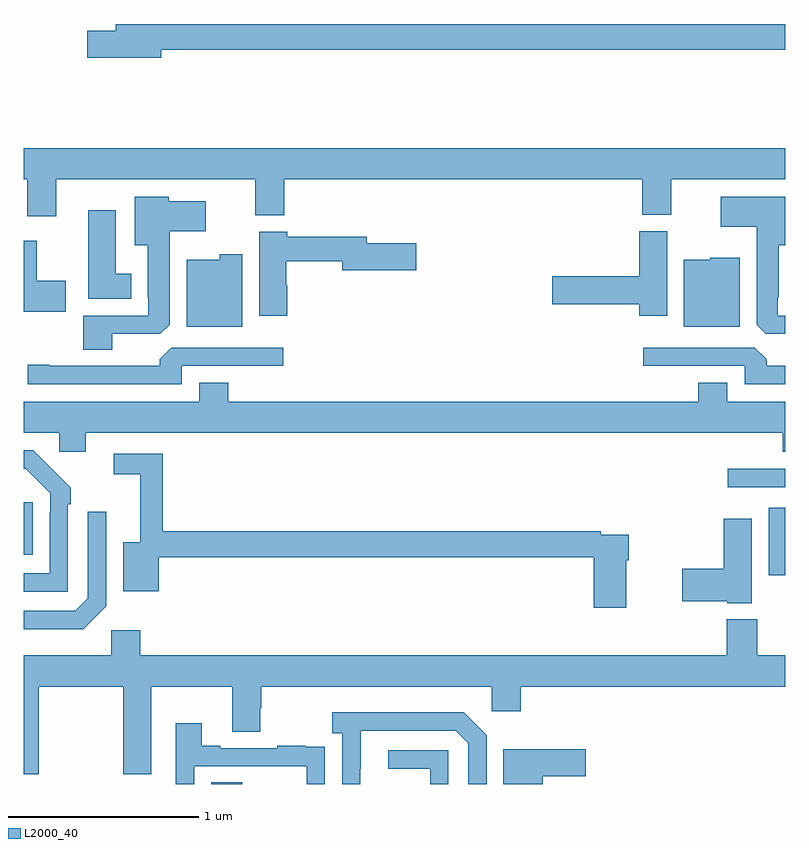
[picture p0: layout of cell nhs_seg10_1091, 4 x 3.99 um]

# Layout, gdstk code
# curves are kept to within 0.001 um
import gdstk
lib = gdstk.Library(unit=1e-6, precision=1e-09)
def R(c, l, rs):  # rectangles x0, y0, x1, y1
    for r in rs: c.add(gdstk.rectangle(r[:2], r[2:], *l))
def P(c, l, *ps):  # polygons
    for p in ps: c.add(gdstk.Polygon(p, *l))
L2000_40 = (2000, 40)

nhs_seg10_1091 = lib.new_cell('nhs_seg10_1091')
R(nhs_seg10_1091, L2000_40, [(167.984,1270.5,168.148,1270.508), (170.912,1271.597,171,1271.95), (167,1271.705,167.047,1271.98), (170.697,1272.06,171,1272.156)])
P(nhs_seg10_1091, L2000_40, [(167.722,1274.356),(171,1274.356),(171,1274.492),(167.483,1274.492),(167.483,1274.456),(167.334,1274.456),(167.334,1274.314),(167.722,1274.314)],
  [(167.17,1273.676),(168.215,1273.676),(168.215,1273.487),(168.368,1273.487),(168.368,1273.676),(170.249,1273.676),(170.249,1273.489),(170.401,1273.489),(170.401,1273.676),(171,1273.676),(171,1273.84),(167,1273.84),(167,1273.676),(167.018,1273.676),(167.018,1273.482),(167.17,1273.482)],
  [(167.464,1272.864),(167.718,1272.864),(167.767,1272.913),(167.767,1273.403),(167.956,1273.403),(167.956,1273.561),(167.763,1273.561),(167.763,1273.585),(167.582,1273.585),(167.582,1273.331),(167.651,1273.331),(167.651,1273.057),(167.655,1273.057),(167.655,1272.96),(167.312,1272.96),(167.312,1272.781),(167.464,1272.781)],
  [(171,1272.96),(170.961,1272.96),(170.961,1273.057),(170.965,1273.057),(170.965,1273.331),(171,1273.331),(171,1273.585),(170.661,1273.585),(170.661,1273.427),(170.849,1273.427),(170.849,1272.913),(170.898,1272.864),(171,1272.864)],
  [(167.566,1273.18),(167.482,1273.18),(167.482,1273.513),(167.339,1273.513),(167.339,1273.049),(167.566,1273.049)],
  [(170.38,1273.404),(170.234,1273.404),(170.234,1273.166),(169.776,1273.166),(169.776,1273.019),(170.234,1273.019),(170.234,1272.96),(170.38,1272.96)],
  [(168.383,1273.121),(168.378,1273.121),(168.378,1273.246),(168.674,1273.246),(168.674,1273.199),(169.063,1273.199),(169.063,1273.341),(168.802,1273.341),(168.802,1273.375),(168.383,1273.375),(168.383,1273.402),(168.236,1273.402),(168.236,1272.96),(168.383,1272.96)],
  [(167.221,1273.143),(167.068,1273.143),(167.068,1273.354),(167,1273.354),(167,1272.98),(167.221,1272.98)],
  [(168.148,1273.282),(168.03,1273.282),(168.03,1273.255),(167.855,1273.255),(167.855,1272.902),(168.148,1272.902)],
  [(170.761,1273.264),(170.607,1273.264),(170.607,1273.255),(170.468,1273.255),(170.468,1272.902),(170.761,1272.902)],
  [(171,1272.696),(170.903,1272.696),(170.903,1272.73),(170.841,1272.792),(170.253,1272.792),(170.253,1272.696),(170.787,1272.696),(170.787,1272.6),(171,1272.6)],
  [(167.829,1272.696),(168.364,1272.696),(168.364,1272.792),(167.775,1272.792),(167.714,1272.73),(167.714,1272.696),(167.134,1272.696),(167.134,1272.701),(167.022,1272.701),(167.022,1272.6),(167.829,1272.6)],
  [(171,1272.508),(170.695,1272.508),(170.695,1272.607),(170.543,1272.607),(170.543,1272.508),(168.074,1272.508),(168.074,1272.607),(167.921,1272.607),(167.921,1272.508),(167,1272.508),(167,1272.344),(167.187,1272.344),(167.187,1272.246),(167.326,1272.246),(167.326,1272.344),(170.987,1272.344),(170.987,1272.245),(171,1272.245)],
  [(167.232,1271.969),(167.247,1271.969),(167.247,1272.057),(167.05,1272.252),(167,1272.252),(167,1272.156),(167.011,1272.156),(167.139,1272.027),(167.139,1271.927),(167.136,1271.927),(167.136,1271.607),(167,1271.607),(167,1271.511),(167.232,1271.511)],
  [(170.164,1271.675),(170.177,1271.675),(170.177,1271.808),(170.03,1271.808),(170.03,1271.828),(167.729,1271.828),(167.729,1272.234),(167.472,1272.234),(167.472,1272.126),(167.612,1272.126),(167.612,1271.77),(167.522,1271.77),(167.522,1271.513),(167.709,1271.513),(167.709,1271.692),(169.994,1271.692),(169.994,1271.427),(170.164,1271.427)],
  [(167.433,1271.433),(167.433,1271.929),(167.337,1271.929),(167.337,1271.475),(167.271,1271.409),(167,1271.409),(167,1271.312),(167.312,1271.312)],
  [(170.824,1271.893),(170.678,1271.893),(170.678,1271.63),(170.46,1271.63),(170.46,1271.459),(170.694,1271.459),(170.694,1271.45),(170.824,1271.45)],
  [(167.079,1271.012),(167.524,1271.012),(167.524,1270.551),(167.671,1270.551),(167.671,1271.012),(168.095,1271.012),(168.095,1270.774),(168.243,1270.774),(168.243,1270.899),(168.248,1270.899),(168.248,1271.012),(169.458,1271.012),(169.458,1270.881),(169.61,1270.881),(169.61,1271.012),(171,1271.012),(171,1271.176),(170.853,1271.176),(170.853,1271.365),(170.693,1271.365),(170.693,1271.176),(167.612,1271.176),(167.612,1271.308),(167.46,1271.308),(167.46,1271.176),(167,1271.176),(167,1270.551),(167.079,1270.551)],
  [(168.768,1270.579),(168.769,1270.779),(169.269,1270.779),(169.335,1270.713),(169.335,1270.5),(169.431,1270.5),(169.431,1270.755),(169.31,1270.876),(168.621,1270.876),(168.621,1270.766),(168.672,1270.766),(168.672,1270.5),(168.768,1270.5)],
  [(167.895,1270.593),(168.486,1270.593),(168.486,1270.5),(168.582,1270.5),(168.582,1270.586),(168.581,1270.586),(168.581,1270.695),(168.479,1270.695),(168.479,1270.702),(168.331,1270.702),(168.331,1270.689),(168.031,1270.689),(168.031,1270.702),(167.935,1270.702),(167.935,1270.819),(167.799,1270.819),(167.799,1270.5),(167.895,1270.5)],
  [(169.727,1270.541),(169.951,1270.541),(169.951,1270.683),(169.52,1270.683),(169.52,1270.5),(169.727,1270.5)],
  [(169.23,1270.677),(168.915,1270.677),(168.915,1270.581),(169.134,1270.581),(169.134,1270.5),(169.23,1270.5)])

lib.write_gds('nhs_seg10_1091.gds')
